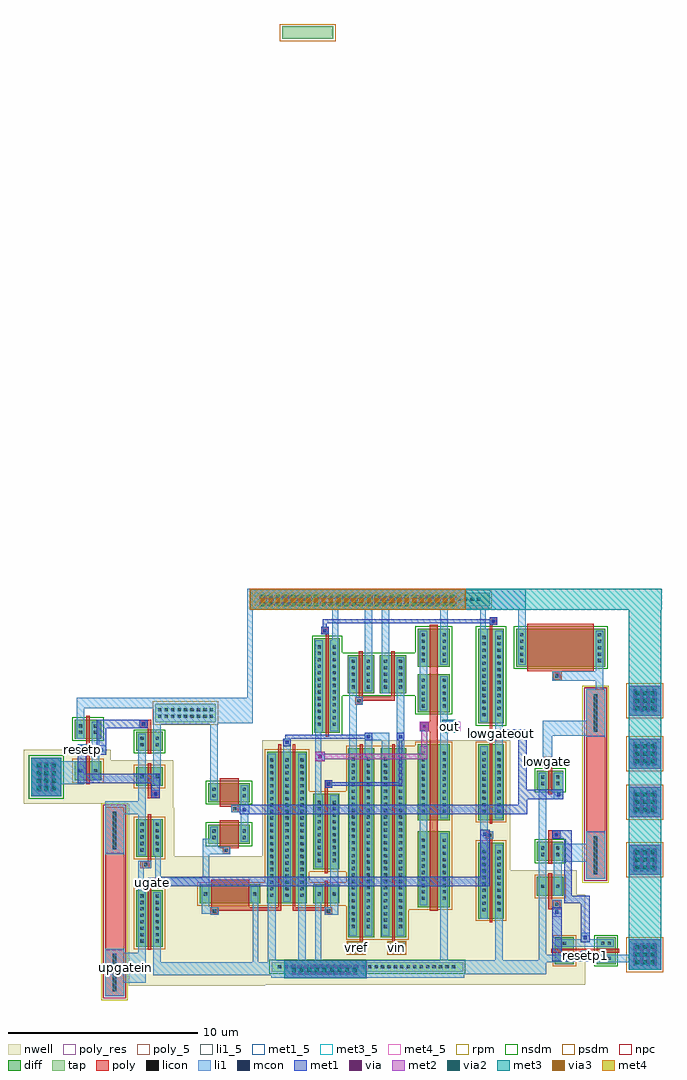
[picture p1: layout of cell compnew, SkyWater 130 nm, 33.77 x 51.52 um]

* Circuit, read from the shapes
.subckt compnew lowgate lowgateout out resetp resetp1 ugate upgatein vin vref
XM1 n1 resetp VSUBS VSUBS sky130_fd_pr__nfet_01v8 w=1 l=0.2
XM2 VSUBS n1 n2 VSUBS sky130_fd_pr__nfet_01v8 w=1 l=0.2
XM3 lowgateout ugate ugate VSUBS sky130_fd_pr__nfet_01v8 w=1 l=1
XM4 lowgateout lowgateout VSUBS VSUBS sky130_fd_pr__nfet_01v8 w=1 l=1
XM5 VSUBS lowgateout n3 VSUBS sky130_fd_pr__nfet_01v8 w=5 l=0.15
XM6 VSUBS n4 n4 VSUBS sky130_fd_pr__nfet_01v8 w=2 l=0.2
XM7 n5 n4 VSUBS VSUBS sky130_fd_pr__nfet_01v8 w=2 l=0.2
XM8 out n3 n6 VSUBS sky130_fd_pr__nfet_01v8 w=2 l=0.4
XM9 VSUBS n3 n6 VSUBS sky130_fd_pr__nfet_01v8 w=2 l=0.4
XM10 lowgateout lowgateout VSUBS VSUBS sky130_fd_pr__nfet_01v8 w=5 l=0.15
XM11 lowgate lowgate VSUBS VSUBS sky130_fd_pr__nfet_01v8 w=2 l=3.5
XM12 n7 n8 n9 VSUBS sky130_fd_pr__nfet_01v8 w=1 l=0.2
XM13 lowgateout lowgate n9 VSUBS sky130_fd_pr__nfet_01v8 w=1 l=0.2
XM14 n8 resetp1 VSUBS VSUBS sky130_fd_pr__nfet_01v8 w=1 l=0.2
XM15 n1 resetp n9 n9 sky130_fd_pr__pfet_01v8 w=1 l=0.2
XM16 n9 ugate upgatein n9 sky130_fd_pr__pfet_01v8 w=3 l=0.2
XM17 ugate upgatein n2 n9 sky130_fd_pr__pfet_01v8 w=2 l=0.2
XM18 VSUBS resetp n2 n9 sky130_fd_pr__pfet_01v8 w=1 l=0.2
XM19 n9 ugate ugate n9 sky130_fd_pr__pfet_01v8 w=1 l=2
XM20 n10 ugate n9 n9 sky130_fd_pr__pfet_01v8 w=8 l=0.15
XM21 n9 n11 n10 n9 sky130_fd_pr__pfet_01v8 w=8 l=0.15
XM22 n11 n11 n9 n9 sky130_fd_pr__pfet_01v8 w=1 l=0.15
XM23 n11 n5 n3 n9 sky130_fd_pr__pfet_01v8 w=4 l=0.15
XM24 n10 vref n4 n9 sky130_fd_pr__pfet_01v8 w=10 l=0.15
XM25 n5 vin n10 n9 sky130_fd_pr__pfet_01v8 w=10 l=0.15
XM26 n9 n3 n12 n9 sky130_fd_pr__pfet_01v8 w=4 l=0.4
XM27 out n3 n12 n9 sky130_fd_pr__pfet_01v8 w=4 l=0.4
XM28 n9 ugate ugate n9 sky130_fd_pr__pfet_01v8 w=4 l=0.15
XM29 lowgateout lowgateout ugate n9 sky130_fd_pr__pfet_01v8 w=4 l=0.15
XM30 n7 resetp1 n9 n9 sky130_fd_pr__pfet_01v8 w=1 l=0.2
XM31 n8 resetp1 n9 n9 sky130_fd_pr__pfet_01v8 w=1 l=0.2
XR32 n2 upgatein VSUBS sky130_fd_pr__res_high_po w=1 l=5.04
XR33 lowgate n7 VSUBS sky130_fd_pr__res_high_po w=1 l=5.04
.ends

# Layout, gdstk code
import gdstk
lib = gdstk.Library(unit=1e-6, precision=1e-09)
def R(c, l, rs):  # rectangles x0, y0, x1, y1
    for r in rs: c.add(gdstk.rectangle(r[:2], r[2:], *l))
def A(c, l, x, y, w, h, nx, ny, dx, dy):  # array of equal rectangles
    R(c, l, [(x+i*dx, y+j*dy, x+i*dx+w, y+j*dy+h) for i in range(nx) for j in range(ny)])
nwell = (64, 20)
diff = (65, 20)
tap = (65, 44)
poly_5 = (66, 5)
poly_res = (66, 13)
poly = (66, 20)
licon = (66, 44)
li1_5 = (67, 5)
li1 = (67, 20)
mcon = (67, 44)
met1_5 = (68, 5)
met1 = (68, 20)
via = (68, 44)
met2 = (69, 20)
via2 = (69, 44)
met3_5 = (70, 5)
met3 = (70, 20)
via3 = (70, 44)
met4_5 = (71, 5)
met4 = (71, 20)
rpm = (86, 20)
nsdm = (93, 44)
psdm = (94, 20)
npc = (95, 20)

compnew = lib.new_cell('compnew')
R(compnew, nwell, [(-0.31,10.2,6.89,10.25), (-0.31,10.25,23.79,15), (-0.31,15,23.34,16.3), (-0.31,16.3,19.84,17.05), (-0.31,17.05,2.09,19.6), (6.74,17.05,19.84,23.15), (-0.31,19.6,2.04,19.8), (-5.86,19.8,2.04,22.1), (-5.86,22.1,-1.26,22.65)])
R(compnew, diff, [(22.19,11.35,23.19,12.75), (24.39,11.35,25.39,12.75), (0.09,12.25,1.49,15.25), (11.29,12.75,12.64,22.75), (12.99,12.75,14.34,22.75), (18.14,13.75,19.49,17.75), (14.94,14.35,16.64,18.35), (3.44,14.55,6.64,15.55), (6.99,14.55,9.09,22.55), (9.44,14.55,10.79,15.55), (21.24,14.95,22.64,15.95), (9.44,16.35,10.79,20.35), (21.24,16.8,22.64,17.8), (0.09,17,1.49,19), (3.89,17.7,6.09,18.7), (14.94,18.95,16.64,22.95), (18.14,18.95,19.49,22.95), (3.89,19.9,6.09,20.9), (21.24,20.55,22.64,21.55), (0.09,20.75,1.49,21.75), (-3.16,21.05,-1.76,22.05), (0.09,22.6,1.49,23.6), (-3.16,23.25,-1.76,24.25), (9.49,23.55,10.84,28.55), (18.14,24.05,19.49,29.05), (14.94,24.65,16.64,26.65), (11.24,25.65,12.64,27.65), (12.94,25.65,14.34,27.65), (14.94,27.05,16.64,29.05), (20.14,27.05,24.84,29.05)])
R(compnew, tap, [(7.24,10.95,17.34,11.45), (26.09,11.05,27.79,12.65), (26.09,16.05,27.79,17.65), (26.09,19.1,27.79,20.7), (-5.46,20.2,-3.86,22.25), (26.09,21.65,27.79,23.25), (1.09,24.1,4.29,25.1), (26.09,24.45,27.79,26.05), (6.34,30.25,18.74,30.95), (7.79,60.2,10.49,60.85)])
R(compnew, poly_5, [(23.54,11.5,24.09,12.05), (-3.01,22.4,-2.46,22.95)])
R(compnew, poly_res, [(-1.56,12.07,-0.56,17.23), (23.84,18.27,24.84,23.43)])
R(compnew, poly, [(-1.56,9.65,-0.56,19.65), (23.54,11.5,24.09,11.95), (11.19,11.85,12.19,12.55), (13.34,11.85,14.34,12.55), (21.99,11.95,25.59,12.15), (0.69,12.1,0.89,15.4), (11.89,12.55,12.04,22.95), (13.59,12.55,13.74,22.95), (18.74,13.55,18.89,17.95), (3.99,13.95,4.44,14.15), (10.04,13.95,10.44,14.15), (3.99,14.15,7.74,14.35), (8.34,14.15,10.44,14.35), (15.59,14.15,15.99,23.65), (21.84,14.25,22.54,14.75), (4.04,14.35,6.04,15.8), (7.59,14.35,7.74,22.95), (8.34,14.35,8.49,22.95), (10.04,14.35,10.19,15.75), (21.84,14.75,22.04,16.15), (0.69,15.4,1.19,15.9), (23.84,15.85,24.84,25.85), (10.04,16.15,10.19,20.65), (0.29,16.4,0.89,16.8), (21.84,16.65,22.04,17.95), (0.69,16.8,0.89,19.25), (4.64,17.15,5.04,17.45), (4.49,17.45,5.49,18.95), (18.54,17.95,18.94,18.35), (21.84,17.95,22.49,18.4), (18.74,18.75,18.89,23.15), (5.09,19.35,5.49,19.65), (4.49,19.65,5.49,21.15), (0.69,20.1,1.34,20.55), (21.84,20.3,22.04,21.8), (0.69,20.55,0.89,21.95), (10.04,20.65,10.44,21.05), (-2.56,20.85,-2.36,22.4), (21.54,21.8,22.04,22.3), (-3.01,22.4,-2.36,22.95), (0.69,22.45,0.89,23.8), (-2.56,22.95,-2.36,24.45), (18.74,23.15,19.14,23.55), (10.09,23.35,10.24,28.75), (18.74,23.55,18.89,29.25), (15.04,23.65,15.99,24.15), (0.24,23.8,0.89,24.25), (15.59,24.15,15.99,29.25), (11.64,25.05,12.04,25.25), (11.64,25.25,13.74,25.45), (11.84,25.45,12.04,27.85), (13.54,25.45,13.74,27.85), (22.04,26.3,22.54,26.8), (20.74,26.8,24.24,29.3), (9.84,28.75,10.24,29.15), (18.74,29.25,19.14,29.65)])
A(compnew, licon, 7.565, 11.115, 0.17, 0.17, 28, 1, 0.34, 0)
A(compnew, licon, 26.345, 11.255, 0.17, 0.17, 4, 4, 0.34, 0.34)
A(compnew, licon, 0.305, 12.475, 0.17, 0.17, 1, 8, 0, 0.34)
A(compnew, licon, 1.105, 12.475, 0.17, 0.17, 1, 8, 0, 0.34)
A(compnew, licon, 11.455, 13.245, 0.17, 0.17, 1, 27, 0, 0.34)
A(compnew, licon, 12.255, 13.245, 0.17, 0.17, 1, 27, 0, 0.34)
A(compnew, licon, 13.155, 13.245, 0.17, 0.17, 1, 27, 0, 0.34)
A(compnew, licon, 13.955, 13.245, 0.17, 0.17, 1, 27, 0, 0.34)
A(compnew, licon, 18.355, 14.135, 0.17, 0.17, 1, 10, 0, 0.34)
A(compnew, licon, 19.155, 14.135, 0.17, 0.17, 1, 10, 0, 0.34)
A(compnew, licon, 15.155, 14.735, 0.17, 0.17, 1, 10, 0, 0.34)
A(compnew, licon, 16.255, 14.735, 0.17, 0.17, 1, 10, 0, 0.34)
A(compnew, licon, 7.155, 14.895, 0.17, 0.17, 3, 22, 0.8, 0.34)
A(compnew, licon, 26.345, 16.255, 0.17, 0.17, 4, 4, 0.34, 0.34)
A(compnew, licon, 9.655, 16.735, 0.17, 0.17, 1, 10, 0, 0.34)
A(compnew, licon, 10.455, 16.735, 0.17, 0.17, 1, 10, 0, 0.34)
A(compnew, licon, 0.305, 17.285, 0.17, 0.17, 1, 5, 0, 0.34)
A(compnew, licon, 1.105, 17.285, 0.17, 0.17, 1, 5, 0, 0.34)
A(compnew, licon, 26.345, 19.305, 0.17, 0.17, 4, 4, 0.34, 0.34)
A(compnew, licon, 15.155, 19.335, 0.17, 0.17, 1, 10, 0, 0.34)
A(compnew, licon, 16.255, 19.335, 0.17, 0.17, 1, 10, 0, 0.34)
A(compnew, licon, 18.355, 19.335, 0.17, 0.17, 1, 10, 0, 0.34)
A(compnew, licon, 19.155, 19.335, 0.17, 0.17, 1, 10, 0, 0.34)
A(compnew, licon, -5.085, 20.46, 0.17, 0.17, 3, 5, 0.34, 0.34)
A(compnew, licon, 26.345, 21.855, 0.17, 0.17, 4, 4, 0.34, 0.34)
A(compnew, licon, 9.655, 23.925, 0.17, 0.17, 1, 13, 0, 0.34)
A(compnew, licon, 10.455, 23.925, 0.17, 0.17, 1, 13, 0, 0.34)
A(compnew, licon, 1.245, 24.345, 0.17, 0.17, 9, 2, 0.34, 0.34)
A(compnew, licon, 18.355, 24.425, 0.17, 0.17, 1, 13, 0, 0.34)
A(compnew, licon, 19.155, 24.425, 0.17, 0.17, 1, 13, 0, 0.34)
A(compnew, licon, 26.345, 24.655, 0.17, 0.17, 4, 4, 0.34, 0.34)
A(compnew, licon, 15.155, 24.885, 0.17, 0.17, 1, 5, 0, 0.34)
A(compnew, licon, 16.255, 24.885, 0.17, 0.17, 1, 5, 0, 0.34)
A(compnew, licon, 11.455, 25.885, 0.17, 0.17, 1, 5, 0, 0.34)
A(compnew, licon, 12.255, 25.885, 0.17, 0.17, 1, 5, 0, 0.34)
A(compnew, licon, 13.155, 25.885, 0.17, 0.17, 1, 5, 0, 0.34)
A(compnew, licon, 13.955, 25.885, 0.17, 0.17, 1, 5, 0, 0.34)
A(compnew, licon, 15.155, 27.285, 0.17, 0.17, 1, 5, 0, 0.34)
A(compnew, licon, 16.255, 27.285, 0.17, 0.17, 3, 5, 4.1, 0.34)
A(compnew, licon, 6.845, 30.515, 0.17, 0.17, 34, 1, 0.34, 0)
R(compnew, licon, [(-1.155,9.9,-0.965,11.9), (22.605,11.565,22.775,11.735), (24.635,11.565,24.805,11.735), (24.975,11.565,25.145,11.735), (23.73,11.69,23.9,11.86), (11.435,12.115,11.605,12.285), (11.775,12.115,11.945,12.285), (13.585,12.115,13.755,12.285), (13.925,12.115,14.095,12.285), (22.605,12.365,22.775,12.535), (24.635,12.365,24.805,12.535), (24.975,12.365,25.145,12.535), (4.13,14.065,4.3,14.235), (10.155,14.065,10.325,14.235), (22.205,14.415,22.375,14.585), (3.655,14.965,3.825,15.135), (6.255,14.965,6.425,15.135), (9.655,14.965,9.825,15.135), (10.455,14.965,10.625,15.135), (21.455,15.365,21.625,15.535), (22.255,15.365,22.425,15.535), (0.855,15.565,1.025,15.735), (24.245,16.1,24.435,18.1), (0.505,16.515,0.675,16.685), (21.455,17.045,21.625,17.215), (22.255,17.045,22.425,17.215), (4.755,17.265,4.925,17.435), (21.455,17.385,21.625,17.555), (22.255,17.385,22.425,17.555), (-1.155,17.4,-0.965,19.4), (4.105,17.945,4.275,18.115), (5.705,17.945,5.875,18.115), (18.655,18.065,18.825,18.235), (22.18,18.09,22.35,18.26), (4.105,18.285,4.275,18.455), (5.705,18.285,5.875,18.455), (5.205,19.465,5.375,19.635), (4.105,20.145,4.275,20.315), (5.705,20.145,5.875,20.315), (1.03,20.24,1.2,20.41), (4.105,20.485,4.275,20.655), (5.705,20.485,5.875,20.655), (10.155,20.765,10.325,20.935), (21.455,20.795,21.625,20.965), (22.255,20.795,22.425,20.965), (21.455,21.135,21.625,21.305), (22.255,21.135,22.425,21.305), (0.305,21.165,0.475,21.335), (1.105,21.165,1.275,21.335), (-2.945,21.465,-2.775,21.635), (-2.145,21.465,-1.975,21.635), (21.705,21.965,21.875,22.135), (-2.82,22.59,-2.65,22.76), (0.305,22.845,0.475,23.015), (1.105,22.845,1.275,23.015), (0.305,23.185,0.475,23.355), (1.105,23.185,1.275,23.355), (18.855,23.265,19.025,23.435), (-2.945,23.495,-2.775,23.665), (-2.145,23.495,-1.975,23.665), (24.245,23.6,24.435,25.6), (15.205,23.815,15.375,23.985), (-2.945,23.835,-2.775,24.005), (-2.145,23.835,-1.975,24.005), (0.38,23.94,0.55,24.11), (11.755,25.165,11.925,25.335), (22.205,26.465,22.375,26.635), (9.955,28.865,10.125,29.035), (18.855,29.365,19.025,29.535)])
R(compnew, li1_5, [(-0.61,10.35,-0.36,11.95), (0.69,15.4,1.19,15.9), (21.54,21.8,22.04,22.3)])
R(compnew, li1, [(-1.56,9.65,-0.56,10.35), (-1.56,10.35,0.59,11.95), (7.21,10.63,17.39,10.75), (0.99,10.75,17.39,10.8), (0.99,10.8,21.74,11.45), (26.09,11.05,27.79,11.45), (0.99,11.45,1.39,15.15), (6.24,11.45,6.54,14.65), (7.04,11.45,23.19,11.55), (24.39,11.45,27.79,11.85), (23.54,11.5,24.09,12.05), (7.04,11.55,7.44,22.45), (8.64,11.55,9.04,22.45), (9.54,11.55,9.84,14.65), (16.14,11.55,16.54,18.25), (19.04,11.55,19.44,17.65), (21.34,11.55,23.19,11.85), (11.19,11.85,12.19,12.55), (13.34,11.85,14.34,12.55), (21.34,11.85,21.74,21.45), (26.09,11.85,27.79,12.65), (-1.56,11.95,-0.56,12.15), (0.19,11.95,0.59,15.15), (22.29,12.25,25.29,12.35), (22.19,12.35,25.29,12.65), (23.54,12.65,24.04,13), (11.34,12.85,11.74,25.05), (12.14,12.85,12.54,23.15), (13.04,12.85,13.44,23.15), (13.84,12.85,14.24,27.55), (18.24,13.75,18.64,17.95), (22.04,13.85,22.54,14.75), (3.99,13.95,4.44,14), (10.04,13.95,10.74,14.35), (3.54,14,4.44,14.35), (3.54,14.35,3.94,15.45), (10.34,14.35,10.74,20.25), (15.04,14.45,15.44,22.85), (6.14,14.65,6.54,15.45), (7.84,14.65,8.24,23.25), (9.54,14.65,9.94,15.45), (22.14,14.95,22.54,16.75), (0.19,15.15,0.49,16.4), (0.69,15.4,1.39,15.45), (0.69,15.45,3.94,15.9), (23.84,15.85,24.84,16.75), (1.09,15.9,1.89,15.95), (3.59,15.9,3.94,17.15), (1.09,15.95,1.39,17.1), (26.09,16.05,27.79,17.65), (0.19,16.4,0.89,16.8), (9.54,16.45,9.94,20.25), (22.14,16.75,24.84,17.7), (0.19,17.1,0.59,19.25), (0.99,17.1,1.39,19), (-1.56,17.15,-0.56,19.25), (3.59,17.15,5.04,17.55), (3.59,17.55,4.39,17.95), (23.84,17.7,24.84,18.35), (5.59,17.8,5.99,19.25), (3.99,17.95,4.39,18.6), (18.24,17.95,18.94,18.35), (22.04,17.95,22.49,18.4), (18.24,18.35,18.74,18.45), (18.24,18.45,18.64,22.85), (16.14,19.05,16.54,23.55), (19.04,19.05,19.44,23.15), (26.09,19.1,27.79,20.7), (-1.56,19.25,0.59,19.95), (5.54,19.25,6.04,19.35), (5.09,19.35,6.04,19.75), (5.59,19.75,5.99,20.8), (0.19,19.95,0.59,23.5), (3.99,20,4.39,24), (22.14,20.05,22.64,21.45), (0.89,20.1,1.34,20.55), (-5.46,20.2,-3.86,20.85), (9.54,20.25,9.84,22.05), (10.04,20.65,10.44,21.05), (1.09,20.75,1.39,20.85), (-5.46,20.85,-2.66,22.05), (0.99,20.85,1.39,24), (-2.16,21.05,-1.86,21.15), (-2.26,21.15,-1.86,22.4), (26.09,21.65,27.79,23.25), (21.54,21.8,22.04,23.4), (-5.46,22.05,-3.86,22.25), (9.54,22.05,10.04,22.55), (-3.01,22.4,-2.46,22.95), (-2.26,22.4,-1.51,22.9), (9.54,22.55,9.84,23.65), (-2.26,22.9,-1.86,24.15), (12.14,23.15,13.44,23.55), (18.74,23.15,19.44,23.25), (-3.06,23.25,-2.66,24.85), (18.74,23.25,19.64,23.55), (23.84,23.35,24.84,23.4), (21.54,23.4,24.84,24.2), (16.14,23.55,16.94,24.25), (19.04,23.55,19.64,23.75), (9.54,23.65,9.94,28.45), (10.34,23.65,10.74,28.45), (15.04,23.65,15.54,24.15), (19.04,23.75,19.44,28.95), (0.24,23.8,0.69,24.25), (0.99,24,4.39,24.05), (0.99,24.05,6.24,24.85), (18.24,24.15,18.64,29.05), (23.84,24.2,24.84,25.85), (16.14,24.25,16.54,26.55), (26.09,24.45,27.79,26.05), (15.04,24.75,15.44,28.95), (-3.06,24.85,6.24,25.4), (11.34,25.05,12.04,25.45), (5.94,25.4,6.24,30.05), (11.34,25.45,11.74,27.55), (13.04,25.65,13.44,30.05), (12.14,25.75,12.54,30.05), (24.34,25.85,24.74,26.3), (22.04,26.3,24.74,26.8), (24.34,26.8,24.74,28.95), (16.14,27.15,16.54,30.05), (20.24,27.15,20.64,30.05), (10.44,28.45,10.74,30.05), (9.84,28.75,10.24,29.15), (18.24,29.05,18.54,30.05), (18.74,29.25,19.14,29.65), (5.94,30.05,20.64,31.15)])
A(compnew, mcon, 8.315, 10.785, 0.17, 0.17, 10, 2, 0.36, 0.36)
A(compnew, mcon, 26.315, 11.405, 0.17, 0.17, 4, 3, 0.36, 0.36)
A(compnew, mcon, 26.315, 16.405, 0.17, 0.17, 4, 3, 0.36, 0.36)
A(compnew, mcon, 26.315, 19.455, 0.17, 0.17, 4, 3, 0.36, 0.36)
A(compnew, mcon, -5.105, 20.6, 0.17, 0.17, 3, 4, 0.36, 0.36)
A(compnew, mcon, 26.315, 22.005, 0.17, 0.17, 4, 3, 0.36, 0.36)
A(compnew, mcon, 26.315, 24.805, 0.17, 0.17, 4, 3, 0.36, 0.36)
A(compnew, mcon, 6.65, 30.285, 0.17, 0.17, 29, 2, 0.36, 0.36)
R(compnew, mcon, [(23.705,11.665,23.875,11.835), (11.425,12.115,11.595,12.285), (11.785,12.115,11.955,12.285), (13.575,12.115,13.745,12.285), (13.935,12.115,14.105,12.285), (23.705,12.665,23.875,12.835), (22.205,14.015,22.375,14.185), (1.555,15.615,1.725,15.785), (22.18,18.09,22.35,18.26), (18.405,18.115,18.575,18.285), (5.705,19.415,5.875,19.585), (22.305,20.215,22.475,20.385), (1.03,20.24,1.2,20.41), (10.155,20.765,10.325,20.935), (9.705,22.215,9.875,22.385), (-2.845,22.565,-2.675,22.735), (-1.845,22.565,-1.675,22.735), (7.955,22.965,8.125,23.135), (12.255,23.265,12.425,23.435), (13.955,23.265,14.125,23.435), (19.305,23.415,19.475,23.585), (15.205,23.815,15.375,23.985), (16.505,23.815,16.675,23.985), (0.38,23.94,0.55,24.11), (9.955,28.865,10.125,29.035), (18.855,29.365,19.025,29.535)])
R(compnew, met1_5, [(19.14,23.25,19.64,23.75)])
R(compnew, met1, [(7.89,10.6,12.25,11.55), (26.09,11.05,27.79,12.65), (22.04,11.5,24.04,11.95), (11.19,11.85,12.19,12.55), (13.34,11.85,14.34,12.55), (22.04,11.95,22.54,14.35), (23.54,11.95,24.04,12), (23.54,12.5,24.04,14.55), (22.69,14.55,24.04,14.95), (22.69,14.95,23.09,17.95), (1.39,15.45,18.74,15.95), (18.24,15.95,18.74,18.45), (26.09,16.05,27.79,17.65), (22.04,17.95,23.09,18.4), (26.09,19.1,27.79,20.7), (5.54,19.25,20.74,19.75), (20.24,19.75,20.74,20.05), (20.24,20.05,22.64,20.55), (0.89,20.1,1.34,20.9), (-5.46,20.2,-3.86,22.25), (20.24,20.55,20.69,23.25), (10.04,20.65,10.44,20.75), (10.04,20.75,14.14,20.95), (-3.01,20.9,1.34,21.4), (10.04,20.95,10.44,21.05), (13.94,20.95,14.14,23.15), (-3.01,21.4,-2.56,22.4), (26.09,21.65,27.79,23.25), (9.54,22.05,10.04,22.55), (-3.01,22.4,-2.51,22.9), (-2.01,22.4,-1.51,23.8), (7.84,22.85,8.24,23.25), (12.14,23.15,12.54,23.25), (13.84,23.15,14.24,23.55), (7.94,23.25,12.54,23.45), (19.14,23.25,20.69,23.75), (12.14,23.45,12.54,23.55), (16.24,23.55,16.94,24.25), (15.04,23.65,15.54,24.15), (-2.01,23.8,0.69,24.25), (26.09,24.45,27.79,26.05), (9.84,28.75,10.24,29.15), (9.94,29.15,10.14,29.35), (18.74,29.25,19.14,29.35), (9.94,29.35,19.14,29.55), (18.74,29.55,19.14,29.65), (6.1,30.05,17.45,31.15)])
A(compnew, via, 8.345, 10.815, 0.15, 0.15, 11, 2, 0.32, 0.32)
A(compnew, via, 26.385, 11.455, 0.15, 0.15, 4, 3, 0.32, 0.32)
A(compnew, via, 26.385, 16.455, 0.15, 0.15, 4, 3, 0.32, 0.32)
A(compnew, via, 26.385, 19.505, 0.15, 0.15, 4, 3, 0.32, 0.32)
A(compnew, via, -5.055, 20.51, 0.15, 0.15, 3, 5, 0.32, 0.32)
A(compnew, via, 26.385, 22.055, 0.15, 0.15, 4, 3, 0.32, 0.32)
A(compnew, via, 26.385, 24.855, 0.15, 0.15, 4, 3, 0.32, 0.32)
A(compnew, via, 6.58, 30.315, 0.15, 0.15, 33, 2, 0.32, 0.32)
R(compnew, via, [(11.455,12.125,11.605,12.275), (11.775,12.125,11.925,12.275), (13.605,12.125,13.755,12.275), (13.925,12.125,14.075,12.275), (9.715,22.225,9.865,22.375), (15.215,23.825,15.365,23.975), (16.515,23.825,16.665,23.975)])
R(compnew, met2, [(7.89,10.6,12.25,11.55), (26.09,11.05,27.79,12.65), (11.19,11.85,12.19,12.55), (13.34,11.85,14.34,12.55), (26.09,16.05,27.79,17.65), (26.09,19.1,27.79,20.7), (-5.46,20.2,-3.86,22.25), (26.09,21.65,27.79,23.25), (9.54,22.05,10.04,22.15), (9.54,22.15,15.44,22.45), (9.54,22.45,10.04,22.55), (15.14,22.45,15.44,23.65), (16.24,23.55,16.94,23.65), (15.04,23.65,15.54,24.15), (16.24,23.65,17.19,24.15), (16.24,24.15,16.94,24.25), (26.09,24.45,27.79,26.05), (6.1,30.05,17.45,31.15)])
A(compnew, via2, 8.315, 10.95, 0.2, 0.2, 9, 1, 0.4, 0)
A(compnew, via2, 26.44, 11.35, 0.2, 0.2, 3, 3, 0.4, 0.4)
A(compnew, via2, 26.44, 16.35, 0.2, 0.2, 3, 3, 0.4, 0.4)
A(compnew, via2, 26.44, 19.4, 0.2, 0.2, 3, 3, 0.4, 0.4)
A(compnew, via2, -5.16, 20.525, 0.2, 0.2, 3, 4, 0.4, 0.4)
A(compnew, via2, 26.44, 21.95, 0.2, 0.2, 3, 3, 0.4, 0.4)
A(compnew, via2, 26.44, 24.75, 0.2, 0.2, 3, 3, 0.4, 0.4)
A(compnew, via2, 6.67, 30.25, 0.2, 0.2, 26, 2, 0.4, 0.4)
R(compnew, via2, [(11.39,12.1,11.59,12.3), (11.79,12.1,11.99,12.3), (13.54,12.1,13.74,12.3), (13.94,12.1,14.14,12.3), (16.49,23.8,16.69,24)])
R(compnew, met3_5, [(16.29,23.6,16.94,24.2)])
R(compnew, met3, [(7.89,10.6,12.24,11.55), (26.09,11.05,27.79,30.05), (11.19,11.85,12.19,12.55), (13.34,11.85,14.34,12.55), (-5.46,20.2,-3.86,22.25), (16.24,23.55,16.94,24.25), (6.1,30.05,27.84,31.15)])
A(compnew, via3, 6.67, 30.45, 0.2, 0.2, 26, 1, 0.4, 0)
R(compnew, via3, [(11.39,12.1,11.59,12.3), (11.79,12.1,11.99,12.3), (13.54,12.1,13.74,12.3), (13.94,12.1,14.14,12.3)])
R(compnew, met4_5, [(11.19,11.85,12.19,12.55), (13.34,11.85,14.34,12.55)])
R(compnew, met4, [(11.19,11.85,12.19,12.55), (13.34,11.85,14.34,12.55), (6.09,30.05,17.49,31.15)])
R(compnew, rpm, [(-1.76,9.45,-0.36,19.85), (23.64,15.65,25.04,26.05)])
R(compnew, nsdm, [(7.115,10.825,17.465,11.575), (24.265,11.225,25.515,12.875), (21.115,16.675,22.765,17.925), (3.765,17.575,6.215,18.825), (3.765,19.775,6.215,21.025), (-5.585,20.075,-3.735,22.375), (21.115,20.425,22.765,21.675), (-0.035,22.475,1.615,23.725), (-3.285,23.125,-1.635,24.375), (9.365,23.425,10.965,25.525), (18.015,23.925,19.615,29.175), (14.815,24.525,16.765,25.525), (9.365,25.525,16.765,27.775), (20.015,26.925,24.965,29.175), (9.365,27.775,10.965,28.675), (14.815,27.775,16.765,29.175)])
R(compnew, psdm, [(-1.67,9.54,-0.45,19.76), (25.965,10.925,27.915,12.775), (22.065,11.225,23.315,12.875), (-0.035,12.125,1.615,15.375), (11.165,12.625,14.465,14.225), (18.015,13.625,19.615,17.875), (11.165,14.225,16.765,14.425), (3.315,14.425,16.765,15.675), (21.115,14.825,22.765,16.075), (6.865,15.675,9.215,16.225), (11.165,15.675,16.765,16.225), (23.73,15.74,24.95,25.96), (25.965,15.925,27.915,17.775), (6.865,16.225,16.765,20.475), (-0.035,16.875,1.615,19.125), (18.015,18.825,19.615,23.075), (25.965,18.975,27.915,20.825), (6.865,20.475,9.215,22.675), (11.165,20.475,16.765,22.875), (-0.035,20.625,1.615,21.875), (-3.285,20.925,-1.635,22.175), (25.965,21.525,27.915,23.375), (14.815,22.875,16.765,23.075), (0.965,23.975,4.415,25.225), (25.965,24.325,27.915,26.175), (6.215,30.125,18.865,31.075), (7.665,60.075,10.615,60.975)])
R(compnew, npc, [(-1.655,9.555,-0.465,19.745), (23.63,11.59,24,11.96), (11.335,12.015,12.045,12.385), (13.485,12.015,14.195,12.385), (4.03,13.965,4.4,14.335), (10.055,13.965,10.425,14.335), (22.105,14.315,22.475,14.685), (0.755,15.465,1.125,15.835), (23.745,15.755,24.935,25.945), (0.405,16.415,0.775,16.785), (4.655,17.165,5.025,17.535), (18.555,17.965,18.925,18.335), (22.08,17.99,22.45,18.36), (5.105,19.365,5.475,19.735), (0.93,20.14,1.3,20.51), (10.055,20.665,10.425,21.035), (21.605,21.865,21.975,22.235), (-2.92,22.49,-2.55,22.86), (18.755,23.165,19.125,23.535), (15.105,23.715,15.475,24.085), (0.28,23.84,0.65,24.21), (11.655,25.065,12.025,25.435), (22.105,26.365,22.475,26.735), (9.855,28.765,10.225,29.135), (18.755,29.265,19.125,29.635)])
compnew.add(gdstk.Label('resetp1', (23.815,11.775), layer=66, texttype=5))
compnew.add(gdstk.Label('resetp', (-2.735,22.675), layer=66, texttype=5))
compnew.add(gdstk.Label('upgatein', (-0.485,11.15), layer=67, texttype=5))
compnew.add(gdstk.Label('ugate', (0.94,15.65), layer=67, texttype=5))
compnew.add(gdstk.Label('lowgate', (21.79,22.05), layer=67, texttype=5))
compnew.add(gdstk.Label('lowgateout', (19.39,23.5), layer=68, texttype=5))
compnew.add(gdstk.Label('vin', (13.84,12.2), layer=71, texttype=5))
compnew.add(gdstk.Label('vref', (11.69,12.2), layer=71, texttype=5))
compnew.add(gdstk.Label('out', (16.615,23.9), layer=70, texttype=5))

lib.write_gds('compnew.gds')
